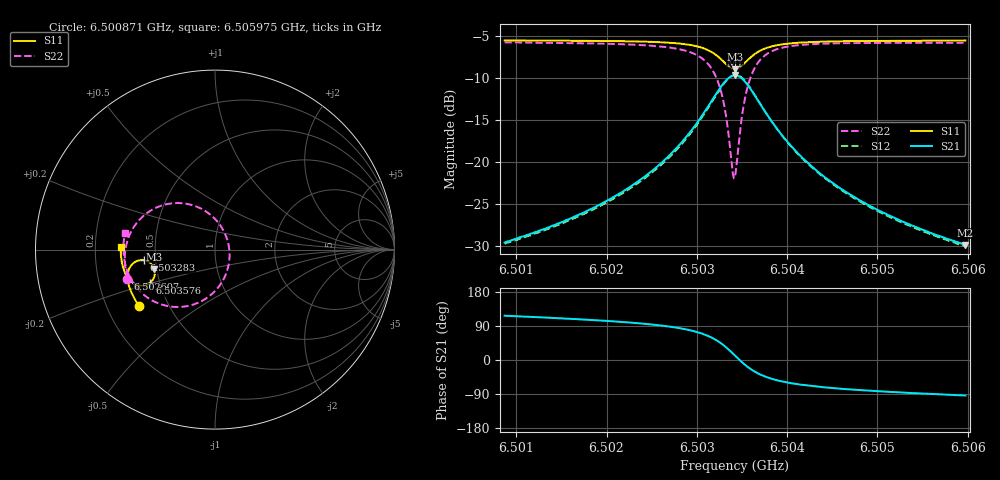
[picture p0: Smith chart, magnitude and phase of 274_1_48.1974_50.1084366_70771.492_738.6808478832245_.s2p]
#  HZ  S  RI  R  50.00
! Rohde & Schwarz Vector Network Analyzer
! Rohde-Schwarz,ZNB20-2Port,1311601062101988,3.16
! Created: UTC 3/20/2024, 11:48:17 AM
! freq[Hz]  re:S11  im:S11  re:S21  im:S21  re:S12  im:S12  re:S22  im:S22
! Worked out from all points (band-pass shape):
!   401 points, 6.500871 GHz to 6.505975 GHz, reference 50 ohm
!   highest |S21| = -9.73 dB at 6.503423 GHz (marker M1); lowest = -29.9 dB at 6.505975 GHz (marker M2)
!   |S21| within 3 dB of the highest: 6.503168 GHz to 6.503678 GHz (510.7 kHz wide, 0.00785 % of centre)
!   lowest |S11| = -9.0 dB at 6.503423 GHz (marker M3), VSWR 2.10, Z = 24.2 - j6.02 ohm
!   |S11| at or under -10 dB: nowhere
!   |S22| runs from -22.0 to -5.8 dB; largest |S21 - S12| = 0.011
!   S11 on the Smith chart (normalised r, x): 6.500871 GHz: 0.34, -0.30; 6.502607 GHz: 0.33, -0.15; 6.503283 GHz: 0.43, -0.06; 6.503576 GHz: 0.44, -0.20; 6.505975 GHz: 0.31, +0.01
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6.5008712e9  -0.4226 -0.3143  -0.015 0.0293  -0.0133 0.0296  -0.4876 -0.1612
6.5017262e9  -0.4599 -0.2516  -0.0144 0.0469  -0.012 0.0465  -0.5021 -0.0716
6.5021855e9  -0.4763 -0.2114  -0.0117 0.0656  -0.00874 0.0645  -0.4999 -0.00768
6.5025811e9  -0.4861 -0.1685  -0.00272 0.0953  0.000969 0.093  -0.481 0.0696
6.5026066e9  -0.4864 -0.1653  -0.00156 0.0981  0.00206 0.0956  -0.4785 0.0758
6.5028491e9  -0.4851 -0.1296  0.0177 0.1321  0.0216 0.1281  -0.4375 0.1466
6.5030277e9  -0.4723 -0.0959  0.0551 0.1689  0.058 0.1633  -0.3648 0.2131
6.5031809e9  -0.4389 -0.0656  0.129 0.199  0.1301 0.1927  -0.2294 0.2585
6.5032829e9  -0.3963 -0.0589  0.2141 0.1898  0.2144 0.1846  -0.081 0.2301
6.503334e9  -0.3708 -0.0677  0.2623 0.1616  0.2631 0.1571  -0.00092 0.172
6.5033978e9  -0.3444 -0.0941  0.3096 0.098  0.3122 0.0932  0.0701 0.0499
6.5034233e9  -0.338 -0.1086  0.3196 0.066  0.3228 0.0603  0.0805 -0.00982
6.5034488e9  -0.3352 -0.1241  0.3231 0.0327  0.3264 0.0257  0.0784 -0.0707
6.5035126e9  -0.3424 -0.1609  0.3049 -0.0445  0.3069 -0.0543  0.0228 -0.2044
6.5035764e9  -0.3635 -0.1865  0.2622 -0.098  0.261 -0.1091  -0.0732 -0.2862
6.5036785e9  -0.4026 -0.2015  0.1882 -0.1338  0.1829 -0.143  -0.2218 -0.3195
6.5038444e9  -0.4483 -0.1917  0.1074 -0.1306  0.1005 -0.1355  -0.3674 -0.273
6.5040231e9  -0.4756 -0.1703  0.0633 -0.1108  0.0572 -0.1129  -0.439 -0.2086
6.5042783e9  -0.4962 -0.1403  0.0337 -0.0867  0.0288 -0.0872  -0.4816 -0.1368
6.5046483e9  -0.5114 -0.102  0.0151 -0.0644  0.0119 -0.0639  -0.5036 -0.0642
6.5051332e9  -0.5211 -0.0574  0.00498 -0.0474  0.00277 -0.0468  -0.5098 0.00341
6.5059754e9  -0.5259 0.0137  -0.00209 -0.0318  -0.00335 -0.0312  -0.5017 0.0918
